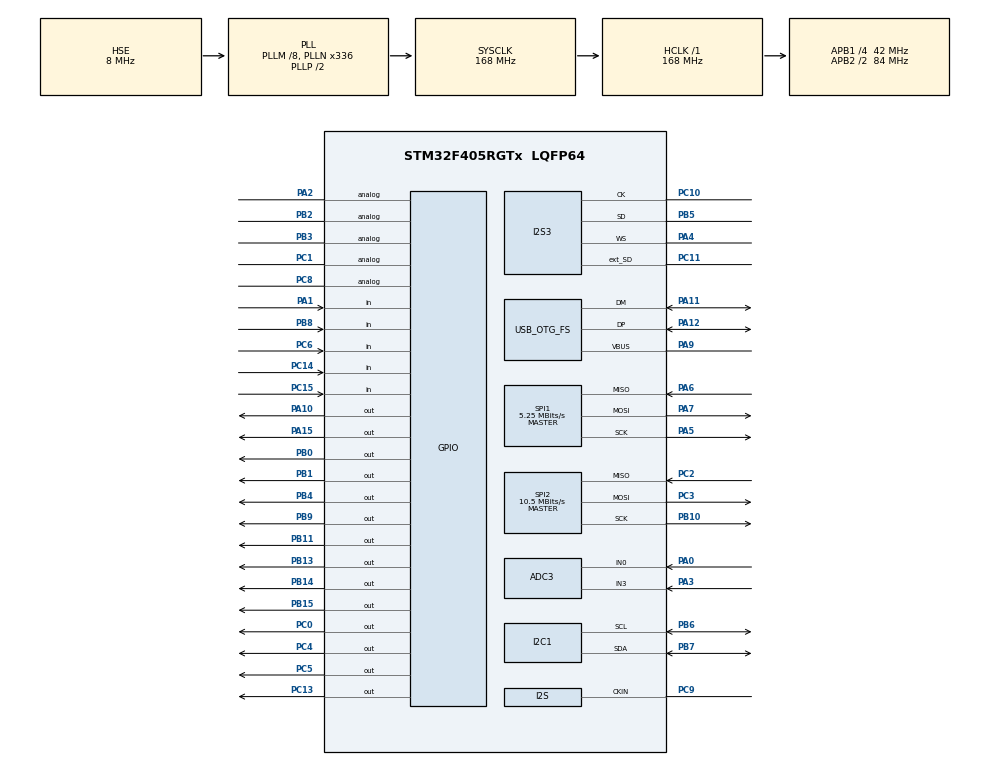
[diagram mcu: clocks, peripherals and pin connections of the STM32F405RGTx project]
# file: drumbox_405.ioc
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ADC3.Channel-1\#ChannelRegularConversion=ADC_CHANNEL_3
ADC3.NbrOfConversion=2
ADC3.Rank-1\#ChannelRegularConversion=2
Dma.I2C1_RX.0.Channel=DMA_CHANNEL_1
Dma.I2C1_RX.0.Direction=DMA_PERIPH_TO_MEMORY
Dma.I2C1_RX.0.FIFOMode=DMA_FIFOMODE_DISABLE
Dma.I2C1_RX.0.Instance=DMA1_Stream5
Dma.I2C1_RX.0.MemDataAlignment=DMA_MDATAALIGN_BYTE
Dma.I2C1_RX.0.MemInc=DMA_MINC_ENABLE
Dma.I2C1_RX.0.Mode=DMA_NORMAL
Dma.I2C1_RX.0.PeriphDataAlignment=DMA_PDATAALIGN_BYTE
Dma.I2C1_RX.0.PeriphInc=DMA_PINC_DISABLE
Dma.I2C1_RX.0.Priority=DMA_PRIORITY_MEDIUM
Dma.I2S3_EXT_RX.4.Channel=DMA_CHANNEL_3
Dma.I2S3_EXT_RX.4.Direction=DMA_PERIPH_TO_MEMORY
Dma.I2S3_EXT_RX.4.FIFOMode=DMA_FIFOMODE_DISABLE
Dma.I2S3_EXT_RX.4.Instance=DMA1_Stream0
Dma.I2S3_EXT_RX.4.MemDataAlignment=DMA_MDATAALIGN_HALFWORD
Dma.I2S3_EXT_RX.4.MemInc=DMA_MINC_ENABLE
Dma.I2S3_EXT_RX.4.Mode=DMA_CIRCULAR
Dma.I2S3_EXT_RX.4.PeriphDataAlignment=DMA_PDATAALIGN_HALFWORD
Dma.I2S3_EXT_RX.4.PeriphInc=DMA_PINC_DISABLE
Dma.I2S3_EXT_RX.4.Priority=DMA_PRIORITY_VERY_HIGH
Dma.Request0=I2C1_RX
Dma.Request1=SPI1_RX
Dma.Request2=SPI1_TX
Dma.Request3=SPI3_TX
Dma.Request4=I2S3_EXT_RX
Dma.Request5=SPI2_TX
Dma.Request6=SPI2_RX
Dma.SPI1_RX.1.Channel=DMA_CHANNEL_3
Dma.SPI1_RX.1.Direction=DMA_PERIPH_TO_MEMORY
Dma.SPI1_RX.1.FIFOMode=DMA_FIFOMODE_DISABLE
Dma.SPI1_RX.1.Instance=DMA2_Stream0
Dma.SPI1_RX.1.MemDataAlignment=DMA_MDATAALIGN_BYTE
Dma.SPI1_RX.1.MemInc=DMA_MINC_ENABLE
Dma.SPI1_RX.1.Mode=DMA_NORMAL
Dma.SPI1_RX.1.PeriphDataAlignment=DMA_PDATAALIGN_BYTE
Dma.SPI1_RX.1.PeriphInc=DMA_PINC_DISABLE
Dma.SPI1_RX.1.Priority=DMA_PRIORITY_HIGH
Dma.SPI1_TX.2.Channel=DMA_CHANNEL_3
Dma.SPI1_TX.2.Direction=DMA_MEMORY_TO_PERIPH
Dma.SPI1_TX.2.FIFOMode=DMA_FIFOMODE_DISABLE
Dma.SPI1_TX.2.Instance=DMA2_Stream3
Dma.SPI1_TX.2.MemDataAlignment=DMA_MDATAALIGN_BYTE
Dma.SPI1_TX.2.MemInc=DMA_MINC_ENABLE
Dma.SPI1_TX.2.Mode=DMA_NORMAL
Dma.SPI1_TX.2.PeriphDataAlignment=DMA_PDATAALIGN_BYTE
Dma.SPI1_TX.2.PeriphInc=DMA_PINC_DISABLE
Dma.SPI1_TX.2.Priority=DMA_PRIORITY_HIGH
Dma.SPI2_RX.6.Channel=DMA_CHANNEL_0
Dma.SPI2_RX.6.Direction=DMA_PERIPH_TO_MEMORY
Dma.SPI2_RX.6.FIFOMode=DMA_FIFOMODE_DISABLE
Dma.SPI2_RX.6.Instance=DMA1_Stream3
Dma.SPI2_RX.6.MemDataAlignment=DMA_MDATAALIGN_BYTE
Dma.SPI2_RX.6.MemInc=DMA_MINC_ENABLE
Dma.SPI2_RX.6.Mode=DMA_NORMAL
Dma.SPI2_RX.6.PeriphDataAlignment=DMA_PDATAALIGN_BYTE
Dma.SPI2_RX.6.PeriphInc=DMA_PINC_DISABLE
Dma.SPI2_RX.6.Priority=DMA_PRIORITY_MEDIUM
Dma.SPI2_TX.5.Channel=DMA_CHANNEL_0
Dma.SPI2_TX.5.Direction=DMA_MEMORY_TO_PERIPH
Dma.SPI2_TX.5.FIFOMode=DMA_FIFOMODE_DISABLE
Dma.SPI2_TX.5.Instance=DMA1_Stream4
Dma.SPI2_TX.5.MemDataAlignment=DMA_MDATAALIGN_BYTE
Dma.SPI2_TX.5.MemInc=DMA_MINC_ENABLE
Dma.SPI2_TX.5.Mode=DMA_NORMAL
Dma.SPI2_TX.5.PeriphDataAlignment=DMA_PDATAALIGN_BYTE
Dma.SPI2_TX.5.PeriphInc=DMA_PINC_DISABLE
Dma.SPI2_TX.5.Priority=DMA_PRIORITY_MEDIUM
Dma.SPI3_TX.3.Channel=DMA_CHANNEL_0
Dma.SPI3_TX.3.Direction=DMA_MEMORY_TO_PERIPH
Dma.SPI3_TX.3.FIFOMode=DMA_FIFOMODE_DISABLE
Dma.SPI3_TX.3.Instance=DMA1_Stream7
Dma.SPI3_TX.3.MemDataAlignment=DMA_MDATAALIGN_HALFWORD
Dma.SPI3_TX.3.MemInc=DMA_MINC_ENABLE
Dma.SPI3_TX.3.Mode=DMA_CIRCULAR
Dma.SPI3_TX.3.PeriphDataAlignment=DMA_PDATAALIGN_HALFWORD
Dma.SPI3_TX.3.PeriphInc=DMA_PINC_DISABLE
Dma.SPI3_TX.3.Priority=DMA_PRIORITY_VERY_HIGH
I2S3.AudioFreq=I2S_AUDIOFREQ_48K
I2S3.ClockSource=I2S_CLOCK_EXTERNAL
I2S3.ErrorAudioFreq=0.0 %
I2S3.FullDuplexMode=I2S_FULLDUPLEXMODE_ENABLE
I2S3.RealAudioFreq=48.0 KHz
Mcu.Family=STM32F4
Mcu.Name=STM32F405RGTx
Mcu.Package=LQFP64
NVIC.ADC_IRQn=true\:0\:14\:false
NVIC.DMA1_Stream0_IRQn=true\:0\:1\:false
NVIC.DMA1_Stream3_IRQn=true\:0\:3\:false
NVIC.DMA1_Stream4_IRQn=true\:0\:2\:false
NVIC.DMA1_Stream5_IRQn=true\:0\:8\:false
NVIC.DMA1_Stream7_IRQn=true\:0\:0\:true
NVIC.DMA2_Stream0_IRQn=true\:0\:5\:false
NVIC.DMA2_Stream3_IRQn=true\:0\:7\:false
NVIC.HASH_RNG_IRQn=true\:0\:15\:true
NVIC.I2C1_ER_IRQn=true\:0\:15\:true
NVIC.I2C1_EV_IRQn=true\:0\:13\:true
NVIC.OTG_FS_IRQn=true\:0\:15\:true
NVIC.PriorityGroup=NVIC_PRIORITYGROUP_0
NVIC.RCC_IRQn=true\:0\:14\:true
NVIC.SPI1_IRQn=true\:0\:9\:true
NVIC.SPI2_IRQn=true\:0\:15\:true
NVIC.SPI3_IRQn=true\:0\:6\:false
PA0-WKUP.Signal=ADCx_IN0
PA1.Signal=GPIO_Input
PA10.Signal=GPIO_Output
PA11.Mode=Device_Only
PA11.Signal=USB_OTG_FS_DM
PA12.Mode=Device_Only
PA12.Signal=USB_OTG_FS_DP
PA13.Mode=Serial-Wire
PA13.Signal=SYS_JTMS-SWDIO
PA14.Mode=Serial-Wire
PA14.Signal=SYS_JTCK-SWCLK
PA15.Signal=GPIO_Output
PA2.Signal=GPIO_Analog
PA3.Signal=ADCx_IN3
PA4.GPIO_Mode=GPIO_MODE_AF_PP
PA4.GPIO_PuPd=GPIO_NOPULL
PA4.GPIO_Speed=GPIO_SPEED_HIGH
PA4.Mode=Full_Duplex_Master
PA4.Signal=I2S3_WS
PA5.GPIO_Mode=GPIO_MODE_AF_PP
PA5.GPIO_PuPd=GPIO_NOPULL
PA5.GPIO_Speed=GPIO_SPEED_HIGH
PA5.Mode=Full_Duplex_Master
PA5.Signal=SPI1_SCK
PA6.GPIO_Mode=GPIO_MODE_AF_PP
PA6.GPIO_PuPd=GPIO_NOPULL
PA6.GPIO_Speed=GPIO_SPEED_HIGH
PA6.Mode=Full_Duplex_Master
PA6.Signal=SPI1_MISO
PA7.GPIO_Mode=GPIO_MODE_AF_PP
PA7.GPIO_PuPd=GPIO_NOPULL
PA7.GPIO_Speed=GPIO_SPEED_HIGH
PA7.Mode=Full_Duplex_Master
PA7.Signal=SPI1_MOSI
PA9.Mode=Activate_VBUS
PA9.Signal=USB_OTG_FS_VBUS
PB0.Signal=GPIO_Output
PB1.Signal=GPIO_Output
PB10.Mode=Full_Duplex_Master
PB10.Signal=SPI2_SCK
PB11.Signal=GPIO_Output
PB13.Signal=GPIO_Output
PB14.Signal=GPIO_Output
PB15.Signal=GPIO_Output
PB2.Signal=GPIO_Analog
PB3.Signal=GPIO_Analog
PB4.Signal=GPIO_Output
PB5.GPIO_Mode=GPIO_MODE_AF_PP
PB5.GPIO_PuPd=GPIO_NOPULL
PB5.GPIO_Speed=GPIO_SPEED_HIGH
PB5.Mode=Full_Duplex_Master
PB5.Signal=I2S3_SD
PB6.GPIO_Mode=GPIO_MODE_AF_OD
PB6.GPIO_PuPd=GPIO_NOPULL
PB6.GPIO_PuPdOD=GPIO_PULLUP
PB6.GPIO_Speed=GPIO_SPEED_LOW
PB6.Mode=I2C
PB6.Signal=I2C1_SCL
PB7.Mode=I2C
PB7.Signal=I2C1_SDA
PB8.Signal=GPIO_Input
PB9.Signal=GPIO_Output
PC0.Signal=GPIO_Output
PC1.Signal=GPIO_Analog
PC10.GPIO_Mode=GPIO_MODE_AF_PP
PC10.GPIO_PuPd=GPIO_NOPULL
PC10.GPIO_Speed=GPIO_SPEED_HIGH
PC10.Mode=Full_Duplex_Master
PC10.Signal=I2S3_CK
PC11.GPIO_Mode=GPIO_MODE_AF_PP
PC11.GPIO_PuPd=GPIO_NOPULL
PC11.GPIO_Speed=GPIO_SPEED_HIGH
PC11.Mode=Full_Duplex_Master
PC11.Signal=I2S3_ext_SD
PC13-ANTI_TAMP.Signal=GPIO_Output
PC14-OSC32_IN.Signal=GPIO_Input
PC15-OSC32_OUT.Signal=GPIO_Input
PC2.Mode=Full_Duplex_Master
PC2.Signal=SPI2_MISO
PC3.Mode=Full_Duplex_Master
PC3.Signal=SPI2_MOSI
PC4.Signal=GPIO_Output
PC5.Signal=GPIO_Output
PC6.Signal=GPIO_Input
PC8.Signal=GPIO_Analog
PC9.Mode=Audio_ClockIn
PC9.Signal=I2S_CKIN
PH0-OSC_IN.Mode=HSE-External-Oscillator
PH0-OSC_IN.Signal=RCC_OSC_IN
PH1-OSC_OUT.Mode=HSE-External-Oscillator
PH1-OSC_OUT.Signal=RCC_OSC_OUT
ProjectManager.TargetToolchain=MDK-ARM V4
RCC.48MHZClocksFreq_Value=48000000
RCC.AHBFreq_Value=168000000
RCC.APB1CLKDivider=RCC_HCLK_DIV4
RCC.APB1Freq_Value=42000000
RCC.APB1TimFreq_Value=84000000
RCC.APB2CLKDivider=RCC_HCLK_DIV2
RCC.APB2Freq_Value=84000000
RCC.APB2TimFreq_Value=168000000
RCC.CortexFreq_Value=21000000
RCC.HCLKFreq_Value=168000000
RCC.HSE_VALUE=8000000
RCC.HSI_VALUE=16000000
RCC.I2SClockSource=I2S_CLOCK_EXTERNAL
RCC.LSE_VALUE=32768
RCC.PLLM=8
RCC.PLLN=336
RCC.PLLQ=7
RCC.PLLSource=RCC_PLLSOURCE_HSE
RCC.SYSCLKFreq_VALUE=168000000
RCC.SYSCLKSource=RCC_SYSCLKSOURCE_PLLCLK
RCC.VCOOutputFreq_Value=336000000
SH.ADCx_IN0.0=ADC3_IN0,IN0
SH.ADCx_IN3.0=ADC3_IN3,IN3
SPI1.BaudRatePrescaler=SPI_BAUDRATEPRESCALER_16
SPI1.CalculateBaudRate=5.25 MBits/s
SPI1.DataSize=SPI_DATASIZE_8BIT
SPI1.Mode=SPI_MODE_MASTER
SPI2.BaudRatePrescaler=SPI_BAUDRATEPRESCALER_4
SPI2.CalculateBaudRate=10.5 MBits/s
SPI2.Mode=SPI_MODE_MASTER
USB_DEVICE.CLASS_NAME-CDC_FS=CDC
USB_DEVICE.USBD_HandleTypeDef-CDC_FS=hUsbDeviceFS
USB_DEVICE.VirtualMode-CDC_FS=Cdc
USB_DEVICE.VirtualModeFS=Cdc_FS
USB_OTG_FS.VirtualMode=Device_Only
VP_RNG_VS_RNG.Mode=RNG_Activate
VP_USB_DEVICE_VS_USB_DEVICE_CDC_FS.Mode=CDC_FS

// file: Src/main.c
/**
  ******************************************************************************
  * File Name          : main.c
  * Date               : 16/06/2015 12:24:07
  * Description        : Main program body
  ******************************************************************************
  *
  * COPYRIGHT(c) 2015 STMicroelectronics
  *
  * Redistribution and use in source and binary forms, with or without modification,
  * are permitted provided that the following conditions are met:
  *   1. Redistributions of source code must retain the above copyright notice,
  *      this list of conditions and the following disclaimer.
  *   2. Redistributions in binary form must reproduce the above copyright notice,
  *      this list of conditions and the following disclaimer in the documentation
  *      and/or other materials provided with the distribution.
  *   3. Neither the name of STMicroelectronics nor the names of its contributors
  *      may be used to endorse or promote products derived from this software
  *      without specific prior written permission.
  *
  * THIS SOFTWARE IS PROVIDED BY THE COPYRIGHT HOLDERS AND CONTRIBUTORS "AS IS"
  * AND ANY EXPRESS OR IMPLIED WARRANTIES, INCLUDING, BUT NOT LIMITED TO, THE
  * IMPLIED WARRANTIES OF MERCHANTABILITY AND FITNESS FOR A PARTICULAR PURPOSE ARE
  * DISCLAIMED. IN NO EVENT SHALL THE COPYRIGHT HOLDER OR CONTRIBUTORS BE LIABLE
  * FOR ANY DIRECT, INDIRECT, INCIDENTAL, SPECIAL, EXEMPLARY, OR CONSEQUENTIAL
  * DAMAGES (INCLUDING, BUT NOT LIMITED TO, PROCUREMENT OF SUBSTITUTE GOODS OR
  * SERVICES; LOSS OF USE, DATA, OR PROFITS; OR BUSINESS INTERRUPTION) HOWEVER
  * CAUSED AND ON ANY THEORY OF LIABILITY, WHETHER IN CONTRACT, STRICT LIABILITY,
  * OR TORT (INCLUDING NEGLIGENCE OR OTHERWISE) ARISING IN ANY WAY OUT OF THE USE
  * OF THIS SOFTWARE, EVEN IF ADVISED OF THE POSSIBILITY OF SUCH DAMAGE.
  *
  ******************************************************************************
  */

#include "stm32f4xx_hal.h"
#include "adc.h"
#include "dma.h"
#include "i2c.h"
#include "i2s.h"
#include "rng.h"
#include "spi.h"
#include "usb_device.h"
#include "gpio.h"

/* USER CODE BEGIN Includes */
#include "main.h"
/* USER CODE END Includes */

void SystemClock_Config(void);

/* USER CODE BEGIN 0 */
#define CAT_BUFFERSIZE 2

#define TIMEOUT 10

#include "waveplayer.h"

long i = 0;
uint8_t counter = 0;
uint16_t fullword = 0;
uint8_t CAT_LED[CAT_BUFFERSIZE];
uint16_t ADC_values[NUMCHANNELS];
uint16_t ADC_LastRead[NUMCHANNELS];
uint16_t knobsendbyte;
long j = 0;

void readExternalADC(void);
void Write7Seg(uint8_t value);
/* USER CODE END 0 */

int main(void)
{

  /* MCU Configuration----------------------------------------------------------*/

  /* Reset of all peripherals, Initializes the Flash interface and the Systick. */
  HAL_Init();

  /* Configure the system clock */
  SystemClock_Config();

  /* Initialize all configured peripherals */
  MX_GPIO_Init();
  MX_DMA_Init();
  MX_ADC3_Init();
  MX_I2C1_Init();
  MX_I2S3_Init();
  MX_RNG_Init();
  MX_SPI1_Init();
  MX_SPI2_Init();
  MX_USB_DEVICE_Init();

  /* USER CODE BEGIN 2 */
	HAL_GPIO_WritePin(GPIOC, GPIO_PIN_13, GPIO_PIN_SET); // ADC CS pin should start high
	HAL_GPIO_WritePin(GPIOC, GPIO_PIN_4, GPIO_PIN_RESET); //CAT4016 Blank pin should always be low
	HAL_GPIO_WritePin(GPIOC, GPIO_PIN_5, GPIO_PIN_RESET); // CAT4016 Latch pin should start low
  HAL_GPIO_WritePin(GPIOC, GPIO_PIN_0, GPIO_PIN_SET); // Other STM32F4 IC CS pin (SYNTH1) should start high
	HAL_GPIO_WritePin(GPIOA, GPIO_PIN_5, GPIO_PIN_RESET); //Start SPI1 SCK low (why doesn't this work?)

  StartAudio();

  /* USER CODE END 2 */

  /* Infinite loop */
  while (1)
  {

  /* USER CODE BEGIN 3 */
	  //Write7Seg( (uint8_t) (ADC_values[0] / 64));
		//changePhaseInc(ADC_values[0]);

		//fullword = (1 << (counter % 16));
		//CAT_LED[0] = fullword & 255;
		//CAT_LED[1] = fullword >> 8;

		//CAT_LED[0] = (uint8_t) (ADC_values[0] & 255);
		//CAT_LED[1] = (uint8_t) (ADC_values[0] >> 4);

		//HAL_Delay(1);
		//HAL_SPI_Transmit(&hspi2, (uint8_t *)CAT_LED, CAT_BUFFERSIZE, TIMEOUT);
		//HAL_GPIO_WritePin(GPIOC, GPIO_PIN_5, GPIO_PIN_SET); // CAT4016 Latch pin goes high to latch data
		//HAL_Delay(1);
		//HAL_GPIO_WritePin(GPIOC, GPIO_PIN_5, GPIO_PIN_RESET); // CAT4016 Latch pin goes back low to reset it

		//readExternalADC();

  }
  /* USER CODE END 3 */

}

/** System Clock Configuration
*/
void SystemClock_Config(void)
{

  RCC_OscInitTypeDef RCC_OscInitStruct;
  RCC_ClkInitTypeDef RCC_ClkInitStruct;

  __PWR_CLK_ENABLE();

  __HAL_PWR_VOLTAGESCALING_CONFIG(PWR_REGULATOR_VOLTAGE_SCALE1);

  RCC_OscInitStruct.OscillatorType = RCC_OSCILLATORTYPE_HSE;
  RCC_OscInitStruct.HSEState = RCC_HSE_ON;
  RCC_OscInitStruct.PLL.PLLState = RCC_PLL_ON;
  RCC_OscInitStruct.PLL.PLLSource = RCC_PLLSOURCE_HSE;
  RCC_OscInitStruct.PLL.PLLM = 8;
  RCC_OscInitStruct.PLL.PLLN = 336;
  RCC_OscInitStruct.PLL.PLLP = RCC_PLLP_DIV2;
  RCC_OscInitStruct.PLL.PLLQ = 7;
  HAL_RCC_OscConfig(&RCC_OscInitStruct);

  RCC_ClkInitStruct.ClockType = RCC_CLOCKTYPE_SYSCLK|RCC_CLOCKTYPE_PCLK1
                              |RCC_CLOCKTYPE_PCLK2;
  RCC_ClkInitStruct.SYSCLKSource = RCC_SYSCLKSOURCE_PLLCLK;
  RCC_ClkInitStruct.AHBCLKDivider = RCC_SYSCLK_DIV1;
  RCC_ClkInitStruct.APB1CLKDivider = RCC_HCLK_DIV4;
  RCC_ClkInitStruct.APB2CLKDivider = RCC_HCLK_DIV2;
  HAL_RCC_ClockConfig(&RCC_ClkInitStruct, FLASH_LATENCY_5);

}

/* USER CODE BEGIN 4 */

void Write7Seg(uint8_t value)
{
	uint8_t Digits[2];
	Digits[0] = value % 10;
	Digits[1] = value / 10;

	HAL_GPIO_WritePin(GPIOB, GPIO_PIN_11, (GPIO_PinState)(Digits[0] & 1));
	HAL_GPIO_WritePin(GPIOB, GPIO_PIN_13, (GPIO_PinState)(Digits[0] & 2));
	HAL_GPIO_WritePin(GPIOB, GPIO_PIN_14, (GPIO_PinState)(Digits[0] & 4));
	HAL_GPIO_WritePin(GPIOB, GPIO_PIN_15, (GPIO_PinState)(Digits[0] & 8));

	HAL_GPIO_WritePin(GPIOB, GPIO_PIN_0, (GPIO_PinState)(Digits[1] & 1));
	HAL_GPIO_WritePin(GPIOB, GPIO_PIN_1, (GPIO_PinState)(Digits[1] & 2));
	HAL_GPIO_WritePin(GPIOB, GPIO_PIN_4, (GPIO_PinState)(Digits[1] & 4));
	HAL_GPIO_WritePin(GPIOB, GPIO_PIN_9, (GPIO_PinState)(Digits[1] & 8));

}

/* USER CODE END 4 */

/************************ (C) COPYRIGHT STMicroelectronics *****END OF FILE****/
